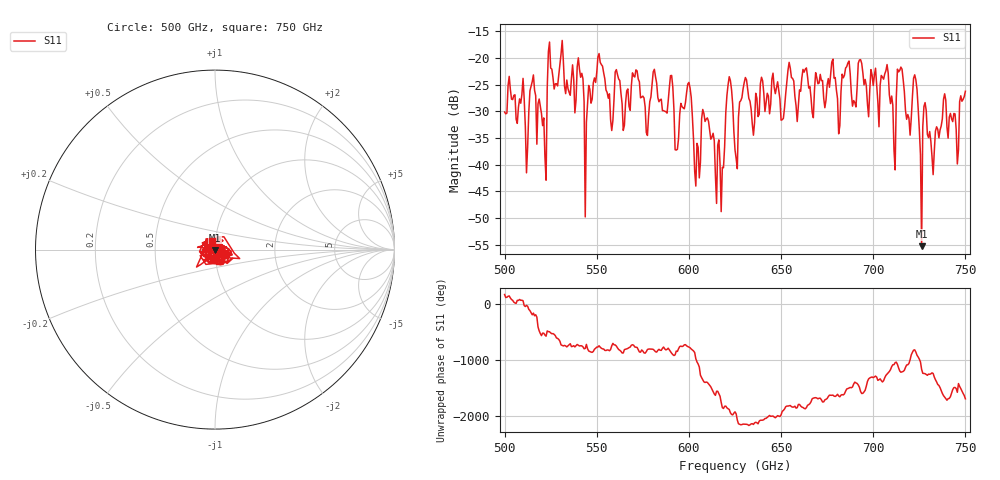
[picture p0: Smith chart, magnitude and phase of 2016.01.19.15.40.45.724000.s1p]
!Created with skrf (http://scikit-rf.org).
# GHz S RI R 50.0
!freq ReS11 ImS11
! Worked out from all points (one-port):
!   401 points, 500 GHz to 750 GHz, reference 50 ohm
!   lowest |S11| = -55.3 dB at 726.2 GHz (marker M1), VSWR 1.00, Z = 50 - j0.172 ohm
!   |S11| at or under -10 dB: start of sweep to end of sweep
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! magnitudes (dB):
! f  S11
! 500 GHz  -30.1
! 511.9 GHz  -41.5
! 515 GHz  -24.4
! 521.2 GHz  -31.2
! 524.4 GHz  -17.0
! 531.2 GHz  -16.7
! 541.2 GHz  -23.6
! 544.4 GHz  -32.1
! 551.2 GHz  -19.2
! 562.5 GHz  -24.2
! 590 GHz  -23.3
! 593.8 GHz  -37.1
! 600 GHz  -24.6
! 604.4 GHz  -36.0
! 608.8 GHz  -31.9
! 618.1 GHz  -40.5
! 621.9 GHz  -23.5
! 625 GHz  -37.2
! 630.6 GHz  -23.6
! 656.2 GHz  -23.8
! 687.5 GHz  -22.9
! 706.9 GHz  -22.4
! 710.6 GHz  -28.8
! 714.4 GHz  -22.3
! 718.8 GHz  -30.6
! 723.1 GHz  -24.1
! 726.2 GHz  -55.3
! 750 GHz  -26.2
